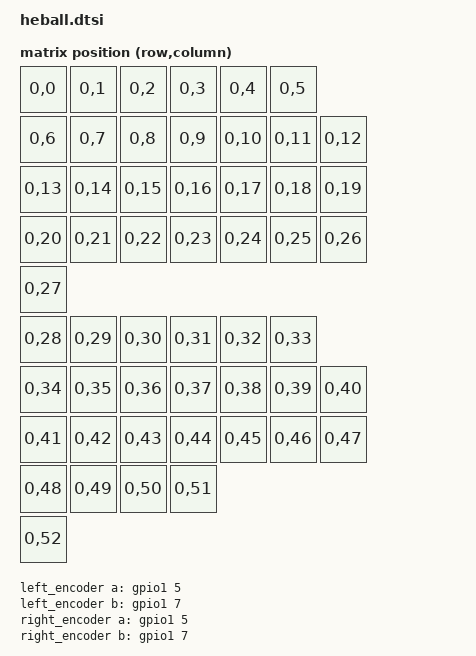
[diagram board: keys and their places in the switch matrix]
#include <dt-bindings/zmk/matrix_transform.h>

/ {
    chosen {
        zmk,kscan = &kscan_composite;
        zmk,matrix-transform = &default_transform;
        zmk,battery = &non_lipo_battery;
    };

    default_transform: keymap_transform_0 {
        compatible = "zmk,matrix-transform";
        columns = <53>;
        rows = <1>;
        /*
         * 左手 (col 0-27): HE1-HE27 + SW(エンコーダープッシュ)
         * 右手 (col 28-52): HE28-HE51 + SW_R(エンコーダープッシュ)
         *
         * 左手:
         *  0- 5: HE1 -HE6   (行1)
         *  6-12: HE7 -HE13  (行2)
         * 13-19: HE14-HE20  (行3)
         * 20-26: HE21-HE27  (行4)
         *    27: SW          (エンコーダープッシュボタン)
         *
         * 右手:
         * 28-33: HE28-HE33  (行1)
         * 34-40: HE34-HE40  (行2)
         * 41-47: HE41-HE47  (行3)
         * 48-51: HE48-HE51  (行4)
         *    52: SW_R        (エンコーダープッシュボタン)
         */
        map = <
            RC(0,0)  RC(0,1)  RC(0,2)  RC(0,3)  RC(0,4)  RC(0,5)
            RC(0,6)  RC(0,7)  RC(0,8)  RC(0,9)  RC(0,10) RC(0,11) RC(0,12)
            RC(0,13) RC(0,14) RC(0,15) RC(0,16) RC(0,17) RC(0,18) RC(0,19)
            RC(0,20) RC(0,21) RC(0,22) RC(0,23) RC(0,24) RC(0,25) RC(0,26)
            RC(0,27)
            RC(0,28) RC(0,29) RC(0,30) RC(0,31) RC(0,32) RC(0,33)
            RC(0,34) RC(0,35) RC(0,36) RC(0,37) RC(0,38) RC(0,39) RC(0,40)
            RC(0,41) RC(0,42) RC(0,43) RC(0,44) RC(0,45) RC(0,46) RC(0,47)
            RC(0,48) RC(0,49) RC(0,50) RC(0,51)
            RC(0,52)
        >;
    };

    /* Disable default battery monitoring */
    vbatt: vbatt {
        status = "disabled";
    };

    /* Non-LiPo (Ni-MH) battery monitoring via ADC channel 0 */
    non_lipo_battery: non_lipo_battery {
        compatible = "zmk,non-lipo-battery";
        io-channels = <&adc 0>;
    };

    /* Left EC11 Rotary Encoder: A=P1.05, B=P1.07 */
    left_encoder: encoder_left {
        compatible = "alps,ec11";
        a-gpios = <&gpio1 5 (GPIO_ACTIVE_HIGH | GPIO_PULL_UP)>;
        b-gpios = <&gpio1 7 (GPIO_ACTIVE_HIGH | GPIO_PULL_UP)>;
        steps = <80>;
        status = "disabled";
    };

    /* Right EC11 Rotary Encoder: A=P1.05, B=P1.07 (same pins, different MCU) */
    right_encoder: encoder_right {
        compatible = "alps,ec11";
        a-gpios = <&gpio1 5 (GPIO_ACTIVE_HIGH | GPIO_PULL_UP)>;
        b-gpios = <&gpio1 7 (GPIO_ACTIVE_HIGH | GPIO_PULL_UP)>;
        steps = <80>;
        status = "disabled";
    };

    sensors: sensors {
        compatible = "zmk,keymap-sensors";
        sensors = <&left_encoder &right_encoder>;
        triggers-per-rotation = <20>;
    };
};
